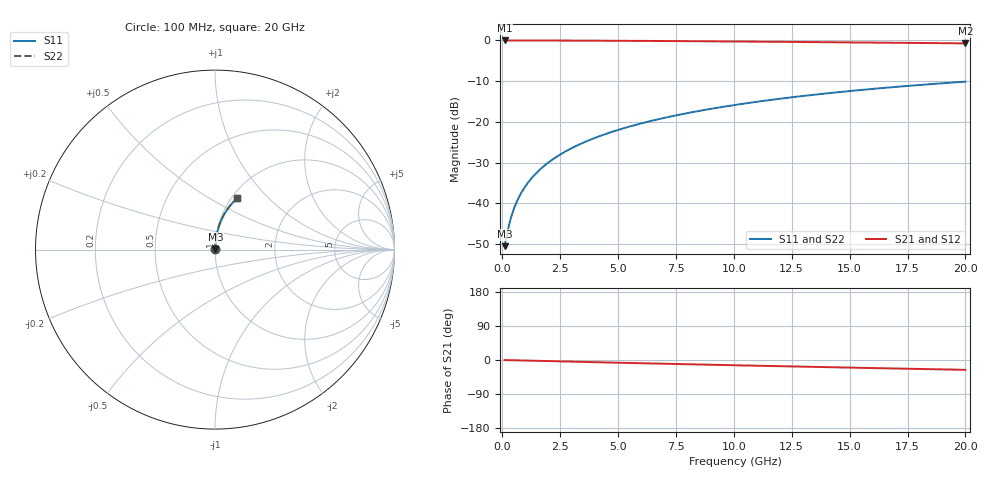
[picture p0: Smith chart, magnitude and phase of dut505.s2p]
! Touchstone file exported from HFSS 2024.1.0
!  File:  C:/UserFiles/LocalFiles/RDL_TSV_Batchsim/temp_RDL_top_505_1779679211.aedt
!  Generated:  11:22:37 AM May 25, 2026
!  Design:  RDL_top
!  Project:  temp_RDL_top_505_1779679211
!  Setup:  Setup1
!  Solution:  Sweep
! Variables:
!  dtsv = 10.80580581um
!  hbump = 3um
!  htsv = 75.4um
!  ldown = 100um
!  lrdl = 305.17um
!  p = 40
!  p1 = 49.35um
!  rhole = 1um
!  t = 450um
!  tdown = 3.915915916um
!  trdl = 3.18um
!  wdown = 15.38538539um
!  wrdl = 14.82um
# GHz S MA R 50.000000
! Terminal data exported
! Port[1] = Box2_T1
! Port[2] = Box2_T2
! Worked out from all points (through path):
!   200 points, 100 MHz to 20 GHz, reference 50 ohm
!   highest |S21| = -0.02 dB at 100 MHz (marker M1); lowest = -0.7 dB at 20 GHz (marker M2)
!   group delay of S21, straight-line fit = 3.6 ps
!   lowest |S11| = -50.5 dB at 100 MHz (marker M3), VSWR 1.01, Z = 50.2 + j0.166 ohm
!   |S11| at or under -10 dB: start of sweep to end of sweep
!   |S22| runs from -50.5 to -10.1 dB; largest |S21 - S12| = 2.1e-15
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0.1  0.002969 33.8  0.9975 -0.2  0.9975 -0.2  0.002969 33.8
! Gamma 0 0 0 0
! Port Impedance 50 0 50 0
0.2  0.004141 52.6  0.9975 -0.3  0.9975 -0.3  0.004141 52.6
0.3  0.005545 62.3  0.9974 -0.4  0.9974 -0.4  0.005545 62.3
0.4  0.007025 67.8  0.9973 -0.6  0.9973 -0.6  0.007025 67.8
0.5  0.008532 71.4  0.9972 -0.7  0.9972 -0.7  0.008532 71.4
0.6  0.01005 73.8  0.9971 -0.9  0.9971 -0.9  0.01005 73.8
0.8  0.01311 77.1  0.997 -1.2  0.997 -1.2  0.01311 77.1
1.1  0.01773 79.8  0.9967 -1.6  0.9967 -1.6  0.01773 79.8
1.5  0.02394 81.8  0.9963 -2.2  0.9963 -2.2  0.02394 81.8
1.8  0.02862 82.6  0.9959 -2.6  0.9959 -2.6  0.02862 82.6
2.1  0.03333 83.2  0.9955 -3.1  0.9955 -3.1  0.03333 83.2
2.7  0.04278 83.7  0.9944 -3.9  0.9944 -3.9  0.04278 83.7
3.5  0.05547 83.9  0.9927 -5.1  0.9927 -5.1  0.05547 83.9
4.2  0.06664 83.7  0.9909 -6.0  0.9909 -6.0  0.06664 83.7
5  0.07947 83.3  0.9886 -7.2  0.9886 -7.2  0.07947 83.3
5.9  0.09397 82.6  0.9856 -8.4  0.9856 -8.4  0.09398 82.6
6.8  0.1085 81.9  0.9824 -9.6  0.9824 -9.6  0.1085 81.9
8.3  0.1328 80.4  0.9765 -11.6  0.9765 -11.6  0.1328 80.4
10.1  0.1618 78.4  0.9687 -14.0  0.9687 -14.0  0.1618 78.5
13.4  0.214 74.6  0.9532 -18.1  0.9532 -18.1  0.214 74.6
16.7  0.264 70.6  0.9363 -22.1  0.9363 -22.1  0.264 70.6
20  0.3113 66.7  0.9183 -26.0  0.9183 -26.0  0.3113 66.7
